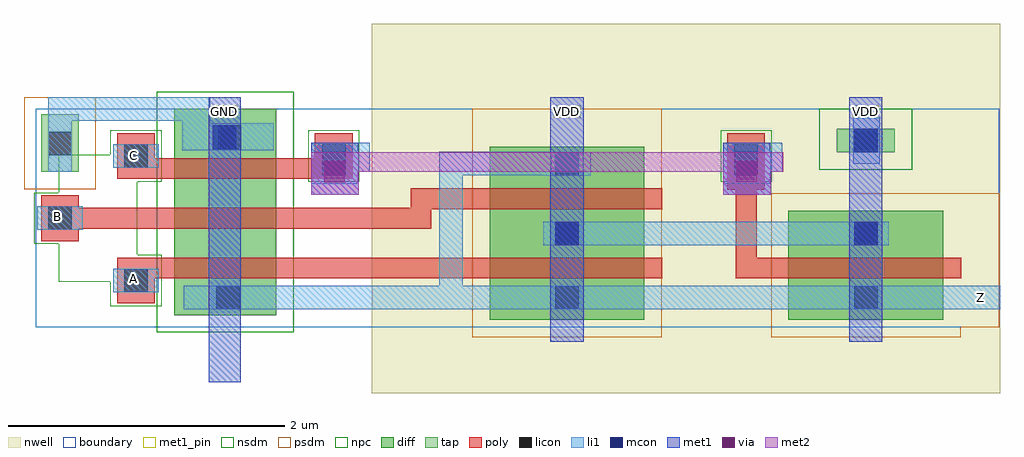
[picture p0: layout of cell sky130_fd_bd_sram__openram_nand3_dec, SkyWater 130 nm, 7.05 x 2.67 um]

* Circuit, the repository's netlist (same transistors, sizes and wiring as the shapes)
* Copyright 2020 The SkyWater PDK Authors
*
* Licensed under the Apache License, Version 2.0 (the "License");
* you may not use this file except in compliance with the License.
* You may obtain a copy of the License at
*
*     https://www.apache.org/licenses/LICENSE-2.0
*
* Unless required by applicable law or agreed to in writing, software
* distributed under the License is distributed on an "AS IS" BASIS,
* WITHOUT WARRANTIES OR CONDITIONS OF ANY KIND, either express or implied.
* See the License for the specific language governing permissions and
* limitations under the License.
*
* SPDX-License-Identifier: Apache-2.0


.subckt sky130_fd_bd_sram__openram_nand3_dec GND VDD
X0 GND C a_128_208# GND sky130_fd_pr__nfet_01v8 w=740000u l=150000u
X1 VDD C Z VDD sky130_fd_pr__pfet_01v8 w=1.12e+06u l=150000u
X2 Z B VDD VDD sky130_fd_pr__pfet_01v8 w=1.12e+06u l=150000u
X3 a_128_136# A Z GND sky130_fd_pr__nfet_01v8 w=740000u l=150000u
X4 VDD A Z VDD sky130_fd_pr__pfet_01v8 w=1.12e+06u l=150000u
X5 a_128_208# B a_128_136# GND sky130_fd_pr__nfet_01v8 w=740000u l=150000u
.ends

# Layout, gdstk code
import gdstk
lib = gdstk.Library(unit=1e-6, precision=1e-09)
def R(c, l, rs):  # rectangles x0, y0, x1, y1
    for r in rs: c.add(gdstk.rectangle(r[:2], r[2:], *l))
nwell = (64, 20)
diff = (65, 20)
tap = (65, 44)
poly = (66, 20)
licon = (66, 44)
li1 = (67, 20)
mcon = (67, 44)
met1_pin = (68, 16)
met1 = (68, 20)
via = (68, 44)
met2 = (69, 20)
nsdm = (93, 44)
psdm = (94, 20)
npc = (95, 20)
boundary = (235, 4)

sky130_fd_bd_sram__openr = lib.new_cell('sky130_fd_bd_sram__openram_nand3_dec')
R(sky130_fd_bd_sram__openr, nwell, [(2.07,-0.3,6.61,2.37)])
R(sky130_fd_bd_sram__openr, diff, [(2.92,0.23,4.04,1.48), (5.08,0.23,6.2,1.02), (0.64,0.265,1.38,1.755)])
R(sky130_fd_bd_sram__openr, tap, [(-0.32,1.3,-0.05,1.715), (5.43,1.44,5.85,1.61)])
R(sky130_fd_bd_sram__openr, poly, [(0.23,0.35,0.5,0.53), (0.23,0.53,4.17,0.68), (4.7,0.53,6.33,0.68), (4.7,0.68,4.85,1.17), (-0.32,0.8,-0.05,0.89), (-0.32,0.89,2.5,1.03), (-0.32,1.03,4.17,1.04), (-0.32,1.04,-0.05,1.13), (2.35,1.04,4.17,1.18), (4.64,1.17,4.91,1.58), (0.23,1.25,1.93,1.4), (0.23,1.4,0.5,1.58), (1.655,1.4,1.93,1.58)])
R(sky130_fd_bd_sram__openr, licon, [(0.945,0.305,1.115,0.475), (3.395,0.305,3.565,0.475), (5.555,0.305,5.725,0.475), (0.28,0.43,0.45,0.6), (3.395,0.77,3.565,0.94), (5.555,0.77,5.725,0.94), (-0.27,0.88,-0.1,1.05), (3.395,1.27,3.565,1.44), (0.28,1.33,0.45,1.5), (1.71,1.33,1.88,1.5), (4.69,1.33,4.86,1.5), (-0.27,1.42,-0.1,1.59), (5.55,1.44,5.72,1.61), (0.955,1.465,1.125,1.635)])
R(sky130_fd_bd_sram__openr, li1, [(0.71,0.305,6.61,0.475), (0.2,0.43,0.53,0.6), (2.555,0.475,2.725,1.275), (3.31,0.77,5.805,0.94), (-0.35,0.88,-0.02,1.05), (1.63,1.215,1.97,1.3), (4.61,1.215,4.95,1.3), (3.31,1.27,3.65,1.275), (2.555,1.275,3.65,1.44), (-0.27,1.3,-0.1,1.67), (1.63,1.3,2.055,1.51), (4.61,1.3,5.035,1.51), (0.2,1.33,0.53,1.5), (5.55,1.36,5.74,1.69), (2.555,1.44,3.435,1.445), (0.7,1.455,1.36,1.65), (0.7,1.65,0.9,1.67), (-0.27,1.67,0.9,1.84)])
R(sky130_fd_bd_sram__openr, mcon, [(3.395,0.77,3.565,0.94), (5.555,0.77,5.725,0.94), (1.71,1.275,1.88,1.445), (4.69,1.275,4.86,1.445), (5.555,1.44,5.725,1.61), (0.92,1.465,1.09,1.635)])
R(sky130_fd_bd_sram__openr, met1_pin, [(0.915,1.69,1.095,1.78), (3.385,1.69,3.575,1.78), (5.545,1.69,5.735,1.78)])
R(sky130_fd_bd_sram__openr, met1, [(0.89,-0.22,1.12,1.84), (3.36,0.07,3.6,1.84), (5.52,0.07,5.76,1.84), (1.63,1.135,1.975,1.45), (4.61,1.135,4.955,1.45), (1.63,1.45,1.97,1.51), (4.61,1.45,4.95,1.51)])
R(sky130_fd_bd_sram__openr, via, [(1.725,1.225,1.875,1.375), (4.705,1.225,4.855,1.375)])
R(sky130_fd_bd_sram__openr, met2, [(1.63,1.135,1.975,1.3), (4.61,1.135,4.955,1.3), (1.63,1.3,5.045,1.44)])
R(sky130_fd_bd_sram__openr, nsdm, [(0.515,0.14,1.505,1.88), (5.305,1.315,5.975,1.755)])
R(sky130_fd_bd_sram__openr, psdm, [(2.795,0.105,4.165,1.755), (4.955,0.105,6.325,0.175), (4.955,0.175,6.605,1.145), (-0.445,1.175,0.075,1.84)])
R(sky130_fd_bd_sram__openr, npc, [(0.18,0.33,0.55,0.505), (-0.195,0.505,0.55,0.7), (-0.195,0.7,0.375,0.78), (-0.37,0.78,0.375,1.15), (-0.195,1.15,0.375,1.23), (-0.195,1.23,0.55,1.425), (1.61,1.23,1.98,1.6), (4.59,1.23,4.96,1.6), (0.18,1.425,0.55,1.6)])
R(sky130_fd_bd_sram__openr, boundary, [(-0.36,0.175,6.605,1.755)])
sky130_fd_bd_sram__openr.add(gdstk.Label('VDD', (3.48,1.735), layer=68, texttype=16))
sky130_fd_bd_sram__openr.add(gdstk.Label('VDD', (5.64,1.735), layer=68, texttype=16))
sky130_fd_bd_sram__openr.add(gdstk.Label('Z', (6.47,0.39), layer=67, texttype=20))
sky130_fd_bd_sram__openr.add(gdstk.Label('C', (0.35,1.42), layer=67, texttype=20))
sky130_fd_bd_sram__openr.add(gdstk.Label('GND', (1.005,1.735), layer=68, texttype=16))
sky130_fd_bd_sram__openr.add(gdstk.Label('B', (-0.2,0.98), layer=67, texttype=20))
sky130_fd_bd_sram__openr.add(gdstk.Label('A', (0.35,0.53), layer=67, texttype=20))

lib.write_gds('sky130_fd_bd_sram__openram_nand3_dec.gds')
